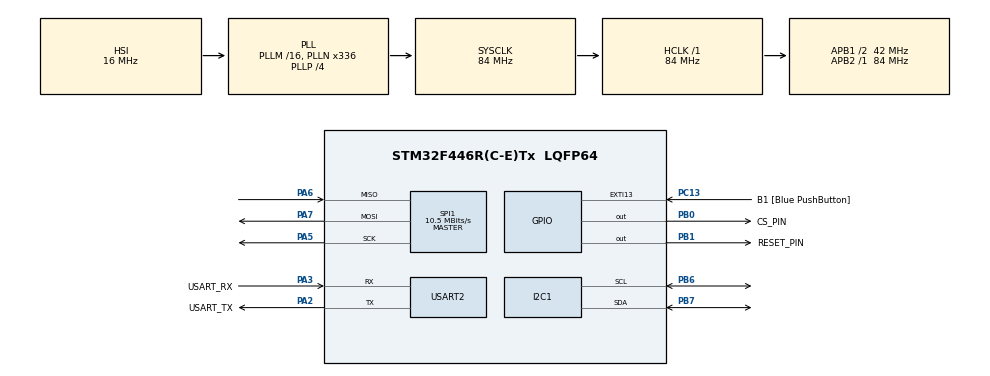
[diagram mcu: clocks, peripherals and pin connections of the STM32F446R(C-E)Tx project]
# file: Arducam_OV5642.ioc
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I2C1.NoStretchMode=I2C_NOSTRETCH_DISABLE
Mcu.Family=STM32F4
Mcu.Name=STM32F446R(C-E)Tx
Mcu.Package=LQFP64
NVIC.PriorityGroup=NVIC_PRIORITYGROUP_0
PA13.GPIO_Label=TMS
PA13.Mode=Serial_Wire
PA13.Signal=SYS_JTMS-SWDIO
PA14.GPIO_Label=TCK
PA14.Mode=Serial_Wire
PA14.Signal=SYS_JTCK-SWCLK
PA2.GPIO_Label=USART_TX
PA2.Mode=Asynchronous
PA2.Signal=USART2_TX
PA3.GPIO_Label=USART_RX
PA3.Mode=Asynchronous
PA3.Signal=USART2_RX
PA5.Mode=Full_Duplex_Master
PA5.Signal=SPI1_SCK
PA6.Mode=Full_Duplex_Master
PA6.Signal=SPI1_MISO
PA7.Mode=Full_Duplex_Master
PA7.Signal=SPI1_MOSI
PB0.GPIO_Label=CS_PIN
PB0.Signal=GPIO_Output
PB1.GPIO_Label=RESET_PIN
PB1.Signal=GPIO_Output
PB3.GPIO_Label=SWO
PB3.Signal=SYS_JTDO-SWO
PB6.GPIO_Mode=GPIO_MODE_AF_OD
PB6.GPIO_Pu=GPIO_PULLUP
PB6.Mode=I2C
PB6.Signal=I2C1_SCL
PB7.GPIO_Pu=GPIO_PULLUP
PB7.Mode=I2C
PB7.Signal=I2C1_SDA
PC13.GPIO_Label=B1 [Blue PushButton]
PC13.GPIO_ModeDefaultEXTI=GPIO_MODE_IT_FALLING
PC13.Signal=GPXTI13
PC14-OSC32_IN.Mode=LSE-External-Oscillator
PC14-OSC32_IN.Signal=RCC_OSC32_IN
PC15-OSC32_OUT.Mode=LSE-External-Oscillator
PC15-OSC32_OUT.Signal=RCC_OSC32_OUT
PH0-OSC_IN.Mode=HSE-External-Oscillator
PH0-OSC_IN.Signal=RCC_OSC_IN
PH1-OSC_OUT.Mode=HSE-External-Oscillator
PH1-OSC_OUT.Signal=RCC_OSC_OUT
ProjectManager.HeapSize=0x200
ProjectManager.StackSize=0x400
ProjectManager.TargetToolchain=STM32CubeIDE
RCC.48MHZClocksFreq_Value=84000000
RCC.AHBFreq_Value=84000000
RCC.APB1CLKDivider=RCC_HCLK_DIV2
RCC.APB1Freq_Value=42000000
RCC.APB1TimFreq_Value=84000000
RCC.APB2Freq_Value=84000000
RCC.APB2TimFreq_Value=84000000
RCC.CortexFreq_Value=84000000
RCC.FLatency-AdvancedSettings=FLASH_LATENCY_2
RCC.HCLKFreq_Value=84000000
RCC.HSE_VALUE=8000000
RCC.HSI_VALUE=16000000
RCC.PLLN=336
RCC.PLLP=RCC_PLLP_DIV4
RCC.SYSCLKFreq_VALUE=84000000
RCC.SYSCLKSource=RCC_SYSCLKSOURCE_PLLCLK
RCC.USBFreq_Value=168000000
RCC.VCOOutputFreq_Value=336000000
SPI1.BaudRatePrescaler=SPI_BAUDRATEPRESCALER_8
SPI1.CalculateBaudRate=10.5 MBits/s
SPI1.Direction=SPI_DIRECTION_2LINES
SPI1.Mode=SPI_MODE_MASTER
SPI1.VirtualType=VM_MASTER
USART2.VirtualMode=VM_ASYNC
board=NUCLEO-F446RE

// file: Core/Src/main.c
/* USER CODE BEGIN Header */
/**
  ******************************************************************************
  * @file           : main.c
  * @brief          : Main program body
  ******************************************************************************
  * @attention
  *
  * Copyright (c) 2024 STMicroelectronics.
  * All rights reserved.
  *
  * This software is licensed under terms that can be found in the LICENSE file
  * in the root directory of this software component.
  * If no LICENSE file comes with this software, it is provided AS-IS.
  *
  ******************************************************************************
  */
/* USER CODE END Header */
#include "main.h"

I2C_HandleTypeDef hi2c1;

SPI_HandleTypeDef hspi1;

UART_HandleTypeDef huart2;

void SystemClock_Config(void);
static void MX_GPIO_Init(void);
static void MX_USART2_UART_Init(void);
static void MX_I2C1_Init(void);
static void MX_SPI1_Init(void);

/* USER CODE BEGIN 0 */
#define ARDUCAM_ADDR 0x78  // Indirizzo I2C

uint8_t firmware_reg = 0x40;  // Registro versione firmware
uint8_t firmware_version;

HAL_StatusTypeDef OV5642_WriteRegister(uint16_t reg, uint8_t value) {
    uint8_t data[3] = {(reg >> 8) & 0xFF, reg & 0xFF, value};
    return HAL_I2C_Master_Transmit(&hi2c1, ARDUCAM_ADDR, data, 3, HAL_MAX_DELAY);
}

uint8_t OV5642_ReadRegister(uint16_t reg) {
    uint8_t reg_addr[2] = {(reg >> 8) & 0xFF, reg & 0xFF};
    uint8_t value;
    HAL_I2C_Master_Transmit(&hi2c1, ARDUCAM_ADDR, reg_addr, 2, HAL_MAX_DELAY);
    HAL_I2C_Master_Receive(&hi2c1, ARDUCAM_ADDR, &value, 1, HAL_MAX_DELAY);
    return value;
}

void OV5642_Select() {
    HAL_GPIO_WritePin(CS_PIN_GPIO_Port, CS_PIN_Pin, GPIO_PIN_RESET);  // CS Low
}

void OV5642_Deselect() {
    HAL_GPIO_WritePin(CS_PIN_GPIO_Port, CS_PIN_Pin, GPIO_PIN_SET);    // CS High
}

uint8_t OV5642_SPI_SendCommand(uint8_t cmd) {
    uint8_t response;
    HAL_SPI_TransmitReceive(&hspi1, &cmd, &response, 1, HAL_MAX_DELAY);
    return response;
}

void OV5642_CaptureImage() {
    OV5642_Select();
    OV5642_SPI_SendCommand(0x82);  // Command to capture a frame
    OV5642_Deselect();
}

uint8_t OV5642_ReadFIFO() {
    OV5642_Select();
    OV5642_SPI_SendCommand(0x3D);  // FIFO read command
    uint8_t pixel = OV5642_SPI_SendCommand(0x00);  // Dummy byte to clock data out
    OV5642_Deselect();
    return pixel;
}

void OV5642_Init() {
    // Reset the camera
    HAL_GPIO_WritePin(CS_PIN_GPIO_Port, CS_PIN_Pin, GPIO_PIN_RESET);  // RESET LOW
    HAL_Delay(10);
    HAL_GPIO_WritePin(CS_PIN_GPIO_Port, CS_PIN_Pin, GPIO_PIN_SET);    // RESET HIGH

    OV5642_WriteRegister(0x3008, 0x80);
    OV5642_WriteRegister(0x3008, 0x80);

    // More settings depending on your resolution and format needs
    printf("Camera initialized\n");
}

void OV5642_StartCapture() {
    OV5642_Select();
    OV5642_SPI_SendCommand(0x84);  // SPI capture command
    OV5642_Deselect();
}

uint8_t OV5642_CheckCaptureDone() {
    OV5642_Select();
    uint8_t status = OV5642_SPI_SendCommand(0x41);  // Read FIFO status
    OV5642_Deselect();
    return status & 0x01;  // Check if capture is done
}

void OV5642_ReadImage(uint8_t *buffer, uint32_t length) {
    OV5642_Select();
    OV5642_SPI_SendCommand(0x3D);  // FIFO read command
    for (uint32_t i = 0; i < length; i++) {
        buffer[i] = OV5642_SPI_SendCommand(0x00);  // Dummy write to clock data out
    }
    OV5642_Deselect();
}

void OV5642_ClearFIFO() {
    OV5642_Select();
    OV5642_SPI_SendCommand(0x04);  // Clear FIFO command
    OV5642_Deselect();
}

void SendImageUART(uint8_t *buffer, uint32_t length) {
    uint32_t chunk_size = 64;  // Adjust chunk size as needed
    for (uint32_t i = 0; i < length; i += chunk_size) {
        uint32_t size = (i + chunk_size <= length) ? chunk_size : (length - i);
        HAL_UART_Transmit(&huart2, &buffer[i], size, HAL_MAX_DELAY);
    }
}

/* USER CODE END 0 */

int main(void)
{

  /* MCU Configuration--------------------------------------------------------*/

  /* Reset of all peripherals, Initializes the Flash interface and the Systick. */
  HAL_Init();

  /* Configure the system clock */
  SystemClock_Config();

  /* Initialize all configured peripherals */
  MX_GPIO_Init();
  MX_USART2_UART_Init();
  MX_I2C1_Init();
  MX_SPI1_Init();
  /* USER CODE BEGIN 2 */
  OV5642_Init();

  //Test if the camera is found:
  uint8_t chip_id_high = OV5642_ReadRegister(0x300a);  // High byte
  uint8_t chip_id_low = OV5642_ReadRegister(0x300b);   // Low byte
  char camera_ok[] = "Camera detected!";
  char camera_not_ok[] = "Camera not detected!";
  if ((chip_id_high == 0x56) && (chip_id_low == 0x42)) {
	  SendImageUART(camera_ok, sizeof(camera_ok));
  } else {
      SendImageUART(camera_not_ok, sizeof(camera_not_ok));
  }

  uint8_t image_buffer[32000];
  /* USER CODE END 2 */

  /* Infinite loop */
  /* USER CODE BEGIN WHILE */

  OV5642_StartCapture();  // Trigger image capture
  HAL_Delay(100);  // Wait for capture to complete

  while (1)
  {

      if (OV5642_CheckCaptureDone()) {
          printf("Capture complete\n");

          // Read image from FIFO
          uint32_t image_length = sizeof(image_buffer);
          OV5642_ReadImage(image_buffer, image_length);

          // Send image over UART
          printf("Sending image...\n");
          SendImageUART(image_buffer, image_length);
          printf("Image sent!\n");

          OV5642_ClearFIFO();  // Clear FIFO for next capture
      } else {
          printf("Capture not completed yet\n");
      }

      HAL_Delay(1000);  // Wait before capturing next frame
    /* USER CODE END WHILE */

  }
}

void SystemClock_Config(void)
{
  RCC_OscInitTypeDef RCC_OscInitStruct = {0};
  RCC_ClkInitTypeDef RCC_ClkInitStruct = {0};

  /** Configure the main internal regulator output voltage
  */
  __HAL_RCC_PWR_CLK_ENABLE();
  __HAL_PWR_VOLTAGESCALING_CONFIG(PWR_REGULATOR_VOLTAGE_SCALE3);

  /** Initializes the RCC Oscillators according to the specified parameters
  * in the RCC_OscInitTypeDef structure.
  */
  RCC_OscInitStruct.OscillatorType = RCC_OSCILLATORTYPE_HSI;
  RCC_OscInitStruct.HSIState = RCC_HSI_ON;
  RCC_OscInitStruct.HSICalibrationValue = RCC_HSICALIBRATION_DEFAULT;
  RCC_OscInitStruct.PLL.PLLState = RCC_PLL_ON;
  RCC_OscInitStruct.PLL.PLLSource = RCC_PLLSOURCE_HSI;
  RCC_OscInitStruct.PLL.PLLM = 16;
  RCC_OscInitStruct.PLL.PLLN = 336;
  RCC_OscInitStruct.PLL.PLLP = RCC_PLLP_DIV4;
  RCC_OscInitStruct.PLL.PLLQ = 2;
  RCC_OscInitStruct.PLL.PLLR = 2;
  if (HAL_RCC_OscConfig(&RCC_OscInitStruct) != HAL_OK)
  {
    Error_Handler();
  }

  /** Initializes the CPU, AHB and APB buses clocks
  */
  RCC_ClkInitStruct.ClockType = RCC_CLOCKTYPE_HCLK|RCC_CLOCKTYPE_SYSCLK
                              |RCC_CLOCKTYPE_PCLK1|RCC_CLOCKTYPE_PCLK2;
  RCC_ClkInitStruct.SYSCLKSource = RCC_SYSCLKSOURCE_PLLCLK;
  RCC_ClkInitStruct.AHBCLKDivider = RCC_SYSCLK_DIV1;
  RCC_ClkInitStruct.APB1CLKDivider = RCC_HCLK_DIV2;
  RCC_ClkInitStruct.APB2CLKDivider = RCC_HCLK_DIV1;

  if (HAL_RCC_ClockConfig(&RCC_ClkInitStruct, FLASH_LATENCY_2) != HAL_OK)
  {
    Error_Handler();
  }
}

static void MX_I2C1_Init(void)
{

  hi2c1.Instance = I2C1;
  hi2c1.Init.ClockSpeed = 100000;
  hi2c1.Init.DutyCycle = I2C_DUTYCYCLE_2;
  hi2c1.Init.OwnAddress1 = 0;
  hi2c1.Init.AddressingMode = I2C_ADDRESSINGMODE_7BIT;
  hi2c1.Init.DualAddressMode = I2C_DUALADDRESS_DISABLE;
  hi2c1.Init.OwnAddress2 = 0;
  hi2c1.Init.GeneralCallMode = I2C_GENERALCALL_DISABLE;
  hi2c1.Init.NoStretchMode = I2C_NOSTRETCH_DISABLE;
  if (HAL_I2C_Init(&hi2c1) != HAL_OK)
  {
    Error_Handler();
  }

}

static void MX_SPI1_Init(void)
{

  /* SPI1 parameter configuration*/
  hspi1.Instance = SPI1;
  hspi1.Init.Mode = SPI_MODE_MASTER;
  hspi1.Init.Direction = SPI_DIRECTION_2LINES;
  hspi1.Init.DataSize = SPI_DATASIZE_8BIT;
  hspi1.Init.CLKPolarity = SPI_POLARITY_LOW;
  hspi1.Init.CLKPhase = SPI_PHASE_1EDGE;
  hspi1.Init.NSS = SPI_NSS_SOFT;
  hspi1.Init.BaudRatePrescaler = SPI_BAUDRATEPRESCALER_8;
  hspi1.Init.FirstBit = SPI_FIRSTBIT_MSB;
  hspi1.Init.TIMode = SPI_TIMODE_DISABLE;
  hspi1.Init.CRCCalculation = SPI_CRCCALCULATION_DISABLE;
  hspi1.Init.CRCPolynomial = 10;
  if (HAL_SPI_Init(&hspi1) != HAL_OK)
  {
    Error_Handler();
  }

}

static void MX_USART2_UART_Init(void)
{

  huart2.Instance = USART2;
  huart2.Init.BaudRate = 115200;
  huart2.Init.WordLength = UART_WORDLENGTH_8B;
  huart2.Init.StopBits = UART_STOPBITS_1;
  huart2.Init.Parity = UART_PARITY_NONE;
  huart2.Init.Mode = UART_MODE_TX_RX;
  huart2.Init.HwFlowCtl = UART_HWCONTROL_NONE;
  huart2.Init.OverSampling = UART_OVERSAMPLING_16;
  if (HAL_UART_Init(&huart2) != HAL_OK)
  {
    Error_Handler();
  }

}

static void MX_GPIO_Init(void)
{
  GPIO_InitTypeDef GPIO_InitStruct = {0};

  /* GPIO Ports Clock Enable */
  __HAL_RCC_GPIOC_CLK_ENABLE();
  __HAL_RCC_GPIOH_CLK_ENABLE();
  __HAL_RCC_GPIOA_CLK_ENABLE();
  __HAL_RCC_GPIOB_CLK_ENABLE();

  /*Configure GPIO pin Output Level */
  HAL_GPIO_WritePin(GPIOB, CS_PIN_Pin|RESET_PIN_Pin, GPIO_PIN_RESET);

  /*Configure GPIO pin : B1_Pin */
  GPIO_InitStruct.Pin = B1_Pin;
  GPIO_InitStruct.Mode = GPIO_MODE_IT_FALLING;
  GPIO_InitStruct.Pull = GPIO_NOPULL;
  HAL_GPIO_Init(B1_GPIO_Port, &GPIO_InitStruct);

  /*Configure GPIO pins : CS_PIN_Pin RESET_PIN_Pin */
  GPIO_InitStruct.Pin = CS_PIN_Pin|RESET_PIN_Pin;
  GPIO_InitStruct.Mode = GPIO_MODE_OUTPUT_PP;
  GPIO_InitStruct.Pull = GPIO_NOPULL;
  GPIO_InitStruct.Speed = GPIO_SPEED_FREQ_LOW;
  HAL_GPIO_Init(GPIOB, &GPIO_InitStruct);

}

void Error_Handler(void)
{
  __disable_irq();
  while (1)
  {
  }
}
